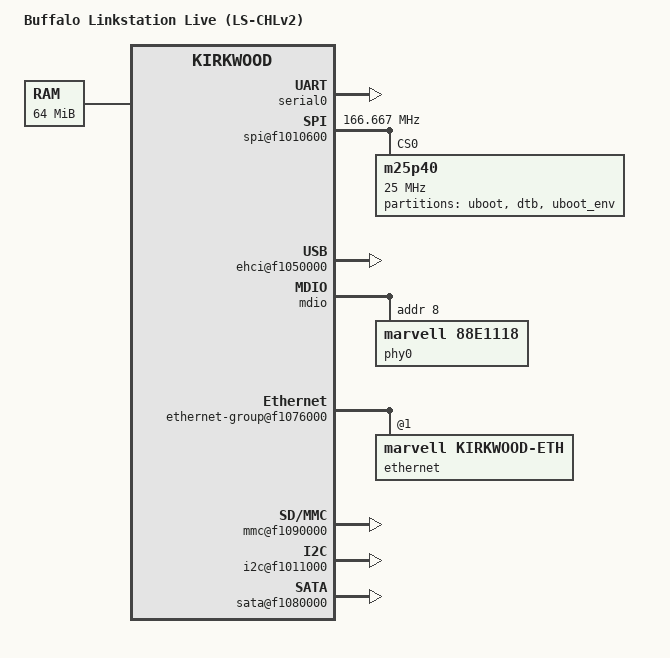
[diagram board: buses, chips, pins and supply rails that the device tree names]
/dts-v1/;

/* /memreserve/ 0x1c000000 0x04000000; */
/include/ "kirkwood.dtsi"

/ {
	model = "Buffalo Linkstation Live (LS-CHLv2)";
	compatible = "marvell,lschlv2";

	memory {
		device_type = "memory";
		reg = <0x00000000 0x04000000>;
	};

	serial0: serial@f1012000 {
		cell-index = <0>;
		device_type = "serial";
		compatible = "ns16550a";
		reg = <0xf1012000 0x20>;
		reg-shift = <2>;
		clock-frequency = <166666667>;
		interrupts = <33>;
	};

	spi@f1010600 {
		#address-cells = <1>;
		#size-cells = <0>;
		cell-index = <0>;
		compatible = "marvell,kirkwood-spi";
		reg = <0xf1010600 0x28>;
		clock-frequency = <166666667>;

		m25p40@0 {
			#address-cells = <1>;
			#size-cells = <1>;
			compatible = "m25p40";
			reg = <0>;
			spi-max-frequency = <25000000>;
			mode = <0>;

			partition@0 {
				reg = <0x0 0x60000>;
				label = "uboot";
				read-only;
			};

			partition@60000 {
				reg = <0x60000 0x10000>;
				label = "dtb";
				read-only;
			};

			partition@70000 {
				reg = <0x70000 0x10000>;
				label = "uboot_env";
			};
		};
	};

	rtc@f1010300 {
		compatible = "marvell,kirkwood-rtc";
		reg = <0xf1010300 0x18>;
		interrupts = <53>;
	};

	ehci@f1050000 {
		compatible = "marvell,kirkwood-ehci";
		reg = <0xf1050000 0x1000>;
		interrupts = <19>;
		phy-version = "orion";
	};

	wdt {
		compatible = "marvell,kirkwood-wdt";
		clock-frequency = <166666667>;
	};

	crypto@f1030000 {
		compatible = "marvell,kirkwood-crypto";
		reg = <0xf1030000 0x10000
		       0xf5000000 0x800>;
		interrupts = <22>;
	};

	mdio {
		#address-cells = <1>;
		#size-cells = <0>;
		compatible = "marvell,kirkwood-mdio";
		phy0: ethernet-phy@8 {
			compatible = "marvell,88e1118";
			interrupts = <47>;
			reg = <8>;
		};
	};

	ethernet-group@f1076000 {
		#address-cells = <1>;
		#size-cells = <0>;
		reg = <0xf1076000 0x2000>;
		compatible = "marvell,kirkwood-eth-group";
		ethernet@1 {
			compatible = "marvell,kirkwood-eth";
			reg = <1>;
			interrupts = <15>;
			phy = <&phy0>;
			local-mac-address = [ 02 00 00 00 00 01 ];
		};
	};

	mmc@f1090000 {
		reg = <0xf1090000 0x2000>;
		compatible = "marvell,kirkwood-sdio";
		interrupts = <28>;
		//card-detect = <&gpio0>;
		//write-protect = <&gpio1>;
	};

	i2c@f1011000 {
		compatible = "marvell,kirkwood-i2c";
		reg = <0xf1011000 0x100>;
		interrupts = <29>;
		freq-m = <8>;
		freq-n = <3>;
		timeout_ms = <1000>;
	};

	sata@f1080000 {
		compatible = "marvell,kirkwood-sata";
		reg = <0xf1080000 0x5000>;
		interrupts = <21>;
		nr-ports = <1>;
	};

	mpp@f1010000 {
		reg = <0xf1010000 0x34>;
		compatible = "marvell,kirkwood-mpp";
		gpio-conf = <10 0   /* HDD Power Enable */
		             11 0   /* USB Vbus Enable */
		             18 0   /* FAN High Enable# */
		             19 0   /* FAN Low Enable# */
		             36 0   /* Function Blue LED */
		             37 0   /* Alarm LED */
		             38 0   /* Info LED */
		             39 0   /* Power LED */
		             40 0   /* Fan Lock */
		             41 0   /* Function Button */
		             42 0   /* Power Switch */
		             43 0   /* Power Auto Switch */
		             48 0>; /* Function Red LED */
	};

	gpio@f1010100 {
		reg = <0xf1010100 0x60>;
		compatible = "marvell,kirkwood-gpio";
		interrupts = <35 36 37 38 39 40 41>;
	};
};
